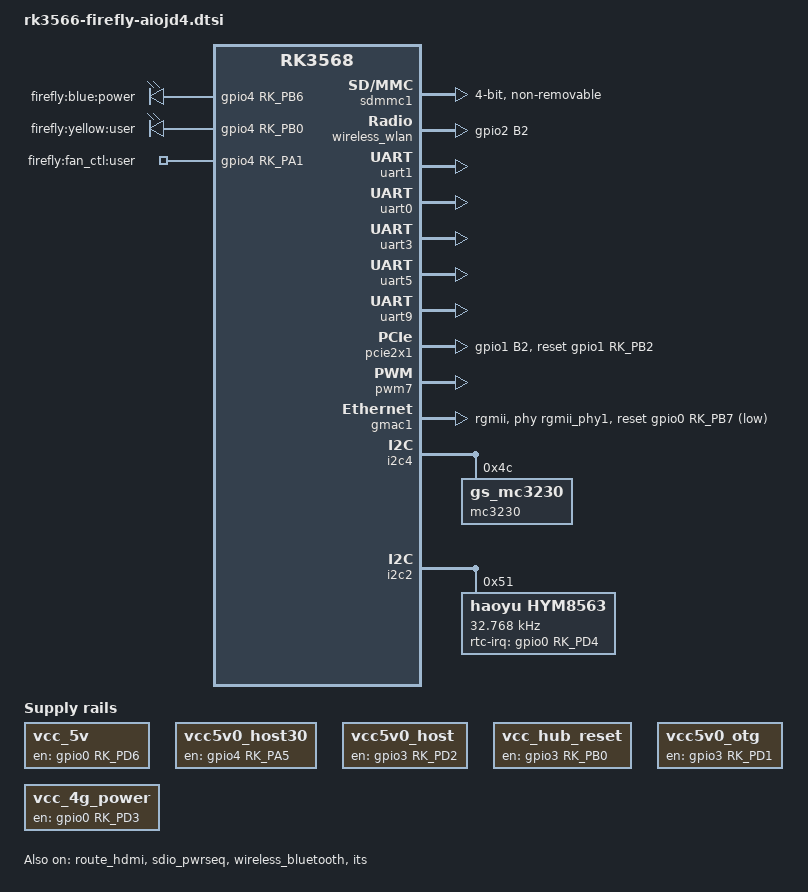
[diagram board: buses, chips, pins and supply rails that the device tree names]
// SPDX-License-Identifier: (GPL-2.0+ OR MIT)
/*
 * Copyright (c) 2020 Rockchip Electronics Co., Ltd.
 *
 */

#include "rk3568-firefly-port.dtsi"
#include "rk3566-diff.dtsi"
//#include "lcd-mipi-to-lvds-HSX101H40C.dtsi"

/ {
/*
    sd_vcc3v3_power: sd-vcc3v3-power {
        compatible = "regulator-fixed";
        enable-active-high;
        gpio = <&gpio0 RK_PA5 GPIO_ACTIVE_HIGH>;
        pinctrl-names = "default";
        pinctrl-0 = <&sd_vcc3v3_power_en>;
        regulator-name = "sd_vcc3v3_power_en";
        regulator-min-microvolt = <3300000>;
        regulator-max-microvolt = <3300000>;
        regulator-always-on;
        regulator-boot-on;
        regulator-state-mem {
            regulator-off-in-suspend;
        };
   };
*/
	vcc_5v: vcc-5v-regulator {
		compatible = "regulator-fixed";
		enable-active-high;
		gpio = <&gpio0 RK_PD6 GPIO_ACTIVE_HIGH>;
		pinctrl-names = "default";
		pinctrl-0 = <&vcc_5v_en>;
		regulator-name = "vcc_5v";
		regulator-always-on;
	};
	
	/* USB vbus config */
	vcc5v0_host30: vcc5v0-host30-regulator {
		compatible = "regulator-fixed";
		enable-active-high;
		gpio = <&gpio4 RK_PA5 GPIO_ACTIVE_HIGH>;
		pinctrl-names = "default";
		pinctrl-0 = <&vcc5v0_host30_en>;
		regulator-name = "vcc5v0_host30";
		regulator-always-on;
	};

	vcc5v0_host: vcc5v0-host-regulator {
		compatible = "regulator-fixed";
		enable-active-high;
		gpio = <&gpio3 RK_PD2 GPIO_ACTIVE_HIGH>;
		pinctrl-names = "default";
		pinctrl-0 = <&vcc5v0_host_en>;
		regulator-name = "vcc5v0_host";
		regulator-always-on;
	};

	vcc_hub_reset: vcc-hub-reset-regulator {
		compatible = "regulator-fixed";
		enable-active-high;
		gpio = <&gpio3 RK_PB0 GPIO_ACTIVE_HIGH>;
		pinctrl-names = "default";
		pinctrl-0 = <&vcc_hub_reset_en>;
		regulator-name = "vcc_hub_reset_en";
		regulator-always-on;
	};

	vcc5v0_otg: vcc5v0-otg-regulator {
		compatible = "regulator-fixed";
		enable-active-high;
		gpio = <&gpio3 RK_PD1 GPIO_ACTIVE_HIGH>;
		pinctrl-names = "default";
		pinctrl-0 = <&vcc5v0_otg_en>;
		regulator-name = "vcc5v0_otg";
	};

	vcc_4g_power: vcc_4g-power-regulator {
		compatible = "regulator-fixed";
		enable-active-high;
		gpio = <&gpio0 RK_PD3 GPIO_ACTIVE_HIGH>;
		pinctrl-names = "default";
		pinctrl-0 = <&vcc_4g_power_en>;
		regulator-name = "vcc_4g_power";
		regulator-always-on;
	};

	firefly_leds: leds {
		compatible = "gpio-leds";
		power_led: power {
			label = "firefly:blue:power";
			linux,default-trigger = "ir-power-click";
			default-state = "on";
			gpios = <&gpio4 RK_PB6 GPIO_ACTIVE_HIGH>;
			pinctrl-names = "default";
			pinctrl-0 = <&led_power>;
		};

		user_led: user {
			label = "firefly:yellow:user";
			linux,default-trigger = "ir-user-click";
			default-state = "off";
			gpios = <&gpio4 RK_PB0 GPIO_ACTIVE_HIGH>;
			pinctrl-names = "default";
			pinctrl-0 = <&led_user>;
		};

		fan_ctl: fan-ctl {
			label = "firefly:fan_ctl:user";
			linux,default-trigger = "ir-user-click";
			default-state = "on";
			gpios = <&gpio4 RK_PA1 GPIO_ACTIVE_HIGH>;
		};
	};
};

/* sdcard config
&sdmmc0 {
    vmmc-supply = <&sd_vcc3v3_power>;
};*/

&route_hdmi {
	status = "okay";
	connect = <&vp0_out_hdmi>;
};

/* WiFi config */
&sdmmc1 {
    max-frequency = <150000000>;
    supports-sdio;
    bus-width = <4>;
    disable-wp;
    cap-sd-highspeed;
    cap-sdio-irq;
    keep-power-in-suspend;
    mmc-pwrseq = <&sdio_pwrseq>;
    non-removable;
    pinctrl-names = "default";
    pinctrl-0 = <&sdmmc1_bus4 &sdmmc1_cmd &sdmmc1_clk>;
    sd-uhs-sdr104;
    rockchip,default-sample-phase = <90>;
    status = "okay";
};

&sdio_pwrseq {
    reset-gpios = <&gpio2 RK_PB1 GPIO_ACTIVE_LOW>;
    status = "okay";
};

&wifi_enable_h {
    rockchip,pins = <2 RK_PB1 RK_FUNC_GPIO &pcfg_pull_none>;
};

// iomux with GPIO2_B2(WIFI,host_wake_irq)
&uart8 {
    status = "disabled";
};

&wireless_wlan {
    wifi_chip_type = "ap6255";
    pinctrl-names = "default";
    pinctrl-0 = <&wifi_host_wake_irq>;
    //WIFI,poweren_gpio = <&gpio3 29 0>;
    WIFI,host_wake_irq = <&gpio2 RK_PB2 0>;
    status = "okay";
};

/* BT config */
&uart1 {
    pinctrl-names = "default";
    pinctrl-0 = <&uart1m0_xfer &uart1m0_ctsn>;
    status = "okay";
};

&wireless_bluetooth {
    uart_rts_gpios = <&gpio2 RK_PB5 GPIO_ACTIVE_LOW>;
    pinctrl-names = "default", "rts_gpio";
    pinctrl-0 = <&uart1m0_rtsn>;
    pinctrl-1 = <&uart1_rts_gpio>;
    BT,reset_gpio    = <&gpio2 RK_PB7 GPIO_ACTIVE_HIGH>;
    BT,wake_gpio     = <&gpio2 RK_PC0 GPIO_ACTIVE_HIGH>;
    BT,wake_host_irq = <&gpio2 RK_PC1 GPIO_ACTIVE_HIGH>;
    status = "okay";
};

&rk809 {
	rtc {
		status = "disabled";
	};
};

&rk809_codec {
    hp-ctl-gpios = <&gpio3 RK_PD0 GPIO_ACTIVE_HIGH>;
    spk-ctl-gpios = <&gpio1 RK_PA4 GPIO_ACTIVE_HIGH>;
    io-channels = <&saradc 2>;
    hp-det-adc-value = <941>;
    hp_adc_drift_scope = <20>;
    board-spk-from-hp;
};

&spk_ctl_gpio{
	rockchip,pins = <1 RK_PA4 RK_FUNC_GPIO &pcfg_pull_up>;
};

&can1{
	status = "disabled";
};

&uart0 {
	status = "okay";
};

&uart3 {
	status = "okay";
	pinctrl-names = "default";
	pinctrl-0 = <&uart3m0_xfer>;
};

&uart5 {
	status = "okay";
	pinctrl-names = "default";
	pinctrl-0 = <&uart5m1_xfer>;
};

&uart9 {
	status = "okay";
	pinctrl-names = "default";
	pinctrl-0 = <&uart9m1_xfer>;
};

/delete-node/ &pcie30_3v3;
/* pcie multiplex with sata2 */
&pcie2x1 {
    reset-gpios = <&gpio1 RK_PB2 GPIO_ACTIVE_HIGH>;
    pinctrl-names = "default";
    pinctrl-0 = <&pcie_reset_gpio>;
    /delete-property/ vpcie3v3-supply;
    status = "okay";
};

&sata2 {
	status = "disabled";
};
/* choose only one to enable */

&its {
    status = "okay";
};

&pwm7 {
    status = "okay";
};

&pinctrl {
	usb {
		vcc_5v_en: vcc-5v-en {
			rockchip,pins = <0 RK_PD6 RK_FUNC_GPIO &pcfg_pull_none>;
		};
		vcc5v0_otg_en: vcc5v0-otg-en {
			rockchip,pins = <3 RK_PD1 RK_FUNC_GPIO &pcfg_pull_none>;
		};
		vcc5v0_host_en: vcc5v0-host-en {
			rockchip,pins = <3 RK_PD2 RK_FUNC_GPIO &pcfg_pull_none>;
		};
		vcc5v0_host30_en: vcc5v0-host30-en {
			rockchip,pins = <4 RK_PA5 RK_FUNC_GPIO &pcfg_pull_none>;
		};
		vcc_hub_reset_en: vcc-hub-reset-en {
			rockchip,pins = <3 RK_PB0 RK_FUNC_GPIO &pcfg_pull_none>;
		};
	};

/*
	sd {
		sd_vcc3v3_power_en: sd-vcc3v3-power-en {
			rockchip,pins = <0 RK_PA5 RK_FUNC_GPIO &pcfg_pull_none>;
		};
	};
*/
    wireless-wlan {
        wifi_host_wake_irq: wifi-host-wake-irq {
            rockchip,pins = <2 RK_PB2 RK_FUNC_GPIO &pcfg_pull_down>;
        };
    };

    wireless-bluetooth {
        uart1_rts_gpio: uart1-rts-gpio {
            rockchip,pins = <2  RK_PB5 RK_FUNC_GPIO &pcfg_pull_none>;
        };

        bt_host_wake_irq: bt-host-wake-irq {
            rockchip,pins = <2 RK_PC1 RK_FUNC_GPIO &pcfg_pull_down>;
        };
        bt_host_wake_gpio: bt-host-wake-gpio {
            rockchip,pins = <2 RK_PC0 RK_FUNC_GPIO &pcfg_pull_down>;
        };
        bt_poweren: bt-poweren {
            rockchip,pins = <2 RK_PB7 RK_FUNC_GPIO &pcfg_pull_down>;
        };
    };

    pcie {
        pcie_reset_gpio: pcie-reset-gpio {
			rockchip,pins = <1 RK_PB2 RK_FUNC_GPIO &pcfg_pull_none>;
		};
    };

	4g {
		vcc_4g_power_en: vcc-4g-power-en {
			rockchip,pins = <0 RK_PD3 RK_FUNC_GPIO &pcfg_pull_none>;
		};
	};

    leds {
         led_power: led-power {
             rockchip,pins = <4 RK_PB6 RK_FUNC_GPIO &pcfg_pull_none>;
         };

         led_user: led-user {
             rockchip,pins = <4 RK_PB0 RK_FUNC_GPIO &pcfg_pull_none>;
         };
    };
};

&gmac1 {
    phy-mode = "rgmii";
    clock_in_out = "input";

    snps,reset-gpio = <&gpio0 RK_PB7 GPIO_ACTIVE_LOW>;
    snps,reset-active-low;
    /* Reset time is 20ms, 100ms for rtl8211f */
    snps,reset-delays-us = <0 20000 100000>;

    assigned-clocks = <&cru SCLK_GMAC1_RX_TX>, <&cru SCLK_GMAC1>;
    assigned-clock-parents = <&cru SCLK_GMAC1_RGMII_SPEED>, <&gmac1_clkin>;

    pinctrl-names = "default";
    pinctrl-0 = <&gmac1m0_miim
             &gmac1m0_tx_bus2
             &gmac1m0_rx_bus2
             &gmac1m0_rgmii_clk
             &gmac1m0_rgmii_bus
             &gmac1m0_clkinout>;

    tx_delay = <0x4e>;
    rx_delay = <0x2c>;

    phy-handle = <&rgmii_phy1>;
    status = "okay";
};

/delete-node/ &mc3230;
&i2c4 {
    status = "okay";

	mc3230: mc3230sensor@4c {
		compatible = "gs_mc3230";
		reg = <0x4c>;
		type = <SENSOR_TYPE_ACCEL>;
		irq_enable = <0>;
		poll_delay_ms = <30>;
		layout = <4>;
		status = "okay";
	};
};

/delete-node/ &hym8563;
&i2c2 {
	status = "okay";

	hym8563: hym8563@51 {
		status = "okay";
		compatible = "haoyu,hym8563";
		reg = <0x51>;
		#clock-cells = <0>;
		rtc-irq-gpio = <&gpio0 RK_PD4 IRQ_TYPE_EDGE_FALLING>;
		clock-frequency = <32768>;
	};
};

&csi2_dphy0 {
	status = "disabled";
};

&csi2_dphy1 {
	status = "disabled";
};

&csi2_dphy2 {
	status = "disabled";
};
